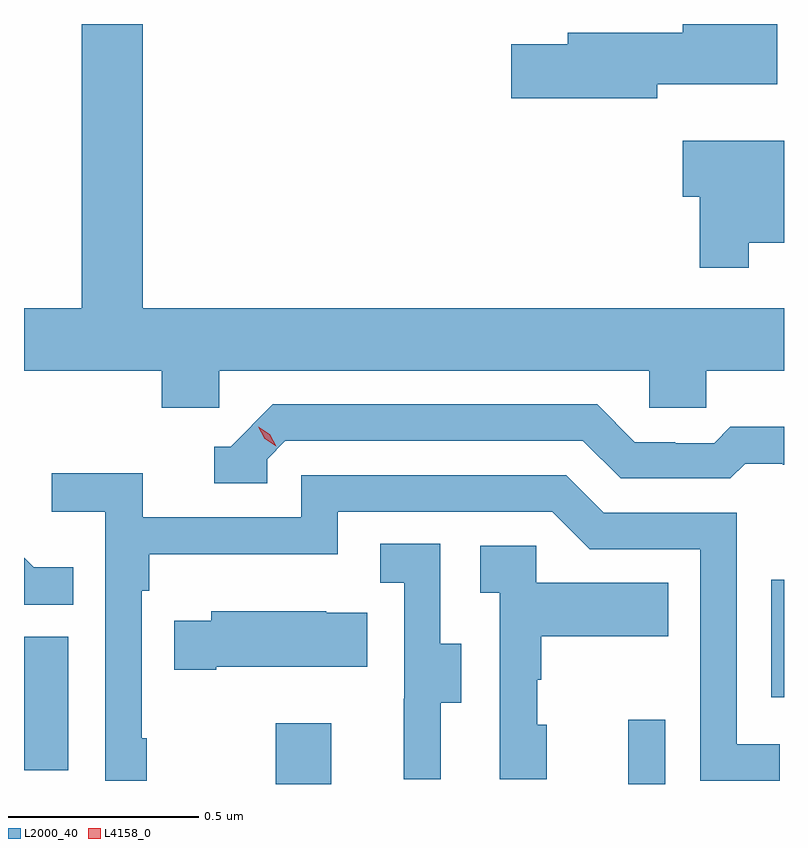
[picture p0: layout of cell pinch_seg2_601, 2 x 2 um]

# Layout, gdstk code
import gdstk
lib = gdstk.Library(unit=1e-6, precision=1e-09)
def R(c, l, rs):  # rectangles x0, y0, x1, y1
    for r in rs: c.add(gdstk.rectangle(r[:2], r[2:], *l))
def P(c, l, *ps):  # polygons
    for p in ps: c.add(gdstk.Polygon(p, *l))
L2000_40 = (2000, 40)
L4158_0 = (4158, 0)

pinch_seg2_601 = lib.new_cell('pinch_seg2_601')
R(pinch_seg2_601, L2000_40, [(1057.6,611.916,1057.747,612.076), (1058.528,611.916,1058.625,612.085), (1056.938,611.952,1057.054,612.303), (1058.904,612.144,1058.938,612.454)])
P(pinch_seg2_601, L2000_40, [(1057.452,613.004),(1058.583,613.004),(1058.583,612.906),(1058.733,612.906),(1058.733,613.004),(1058.938,613.004),(1058.938,613.168),(1057.25,613.168),(1057.25,613.916),(1057.09,613.916),(1057.09,613.168),(1056.938,613.168),(1056.938,613.004),(1057.301,613.004),(1057.301,612.906),(1057.452,612.906)],
  [(1058.604,613.757),(1058.92,613.757),(1058.92,613.916),(1058.672,613.916),(1058.672,613.893),(1058.369,613.893),(1058.369,613.863),(1058.22,613.863),(1058.22,613.721),(1058.604,613.721)],
  [(1058.845,613.34),(1058.938,613.34),(1058.938,613.609),(1058.672,613.609),(1058.672,613.462),(1058.716,613.462),(1058.716,613.275),(1058.845,613.275)],
  [(1057.578,612.771),(1057.626,612.819),(1058.409,612.819),(1058.508,612.72),(1058.797,612.72),(1058.836,612.759),(1058.935,612.759),(1058.935,612.756),(1058.938,612.756),(1058.938,612.856),(1058.797,612.856),(1058.755,612.813),(1058.652,612.813),(1058.652,612.816),(1058.545,612.816),(1058.446,612.915),(1057.593,612.915),(1057.482,612.804),(1057.439,612.804),(1057.439,612.708),(1057.578,612.708)],
  [(1057.261,612.037),(1057.248,612.037),(1057.248,612.425),(1057.268,612.425),(1057.268,612.521),(1057.764,612.521),(1057.764,612.633),(1058.328,612.633),(1058.427,612.534),(1058.718,612.534),(1058.718,611.925),(1058.927,611.925),(1058.927,612.021),(1058.814,612.021),(1058.814,612.63),(1058.464,612.63),(1058.365,612.729),(1057.668,612.729),(1057.668,612.618),(1057.25,612.618),(1057.25,612.734),(1057.011,612.734),(1057.011,612.632),(1057.152,612.632),(1057.152,611.925),(1057.261,611.925)],
  [(1058.035,612.13),(1058.089,612.13),(1058.089,612.285),(1058.034,612.285),(1058.034,612.548),(1057.875,612.548),(1057.875,612.445),(1057.938,612.445),(1057.938,612.141),(1057.937,612.141),(1057.937,611.928),(1058.035,611.928)],
  [(1058.314,612.072),(1058.289,612.072),(1058.289,612.191),(1058.299,612.191),(1058.299,612.305),(1058.633,612.305),(1058.633,612.445),(1058.286,612.445),(1058.286,612.543),(1058.139,612.543),(1058.139,612.419),(1058.19,612.419),(1058.19,611.928),(1058.314,611.928)],
  [(1057.067,612.487),(1056.963,612.487),(1056.938,612.512),(1056.938,612.388),(1057.067,612.388)],
  [(1057.444,612.224),(1057.841,612.224),(1057.841,612.367),(1057.733,612.367),(1057.733,612.37),(1057.431,612.37),(1057.431,612.346),(1057.333,612.346),(1057.333,612.217),(1057.444,612.217)])
P(pinch_seg2_601, L4158_0, [(1057.602,612.805),(1057.571,612.824),(1057.554,612.856),(1057.554,612.856),(1057.554,612.856),(1057.585,612.837),(1057.602,612.805),(1057.602,612.805)])

lib.write_gds('pinch_seg2_601.gds')
